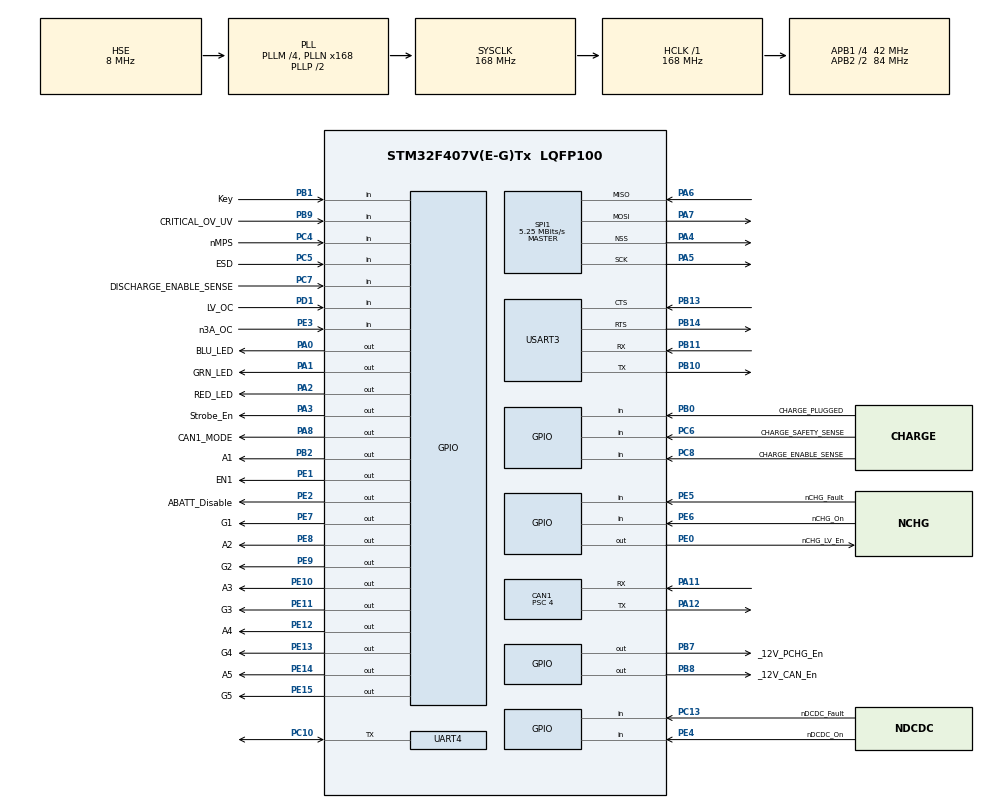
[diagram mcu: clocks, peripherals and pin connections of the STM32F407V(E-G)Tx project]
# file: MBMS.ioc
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CAN1.BS1=CAN_BS1_15TQ
CAN1.BS2=CAN_BS2_5TQ
CAN1.CalculateBaudRate=500000
CAN1.CalculateTimeBit=2000
CAN1.CalculateTimeQuantum=95.23809523809524
CAN1.Prescaler=4
CAN1.SJW=CAN_SJW_1TQ
FREERTOS.Tasks01=defaultTask,24,128,StartDefaultTask,Default,NULL,Dynamic,NULL,NULL
FREERTOS.configUSE_NEWLIB_REENTRANT=1
Mcu.Family=STM32F4
Mcu.Name=STM32F407V(E-G)Tx
Mcu.Package=LQFP100
NVIC.CAN1_RX0_IRQn=true\:5\:0\:false\:false\:true\:true\:true\:true\:true
NVIC.PriorityGroup=NVIC_PRIORITYGROUP_4
NVIC.TIM2_IRQn=true\:15\:0\:false\:false\:true\:false\:false\:true\:true
NVIC.TimeBase=TIM2_IRQn
NVIC.TimeBaseIP=TIM2
PA0-WKUP.GPIO_Label=BLU_LED
PA0-WKUP.PinState=GPIO_PIN_SET
PA0-WKUP.Signal=GPIO_Output
PA1.GPIO_Label=GRN_LED
PA1.PinState=GPIO_PIN_SET
PA1.Signal=GPIO_Output
PA11.Mode=CAN_Activate
PA11.Signal=CAN1_RX
PA12.Mode=CAN_Activate
PA12.Signal=CAN1_TX
PA13.Mode=JTAG_4_pins
PA13.Signal=SYS_JTMS-SWDIO
PA14.Mode=JTAG_4_pins
PA14.Signal=SYS_JTCK-SWCLK
PA15.Mode=JTAG_4_pins
PA15.Signal=SYS_JTDI
PA2.GPIO_Label=RED_LED
PA2.PinState=GPIO_PIN_SET
PA2.Signal=GPIO_Output
PA3.GPIO_Label=Strobe_En
PA3.GPIO_PuPd=GPIO_PULLDOWN
PA3.Signal=GPIO_Output
PA4.Mode=NSS_Signal_Hard_Output
PA4.Signal=SPI1_NSS
PA5.Mode=Full_Duplex_Master
PA5.Signal=SPI1_SCK
PA6.Mode=Full_Duplex_Master
PA6.Signal=SPI1_MISO
PA7.Mode=Full_Duplex_Master
PA7.Signal=SPI1_MOSI
PA8.GPIO_Label=CAN1_MODE
PA8.PinState=GPIO_PIN_RESET
PA8.Signal=GPIO_Output
PB0.GPIO_Label=CHARGE_PLUGGED
PB0.Signal=GPIO_Input
PB1.GPIO_Label=Key
PB1.Signal=GPIO_Input
PB10.Mode=Asynchronous
PB10.Signal=USART3_TX
PB11.Mode=Asynchronous
PB11.Signal=USART3_RX
PB13.Mode=CTS_RTS
PB13.Signal=USART3_CTS
PB14.Mode=CTS_RTS
PB14.Signal=USART3_RTS
PB2.GPIO_Label=A1
PB2.Signal=GPIO_Output
PB3.Mode=JTAG_4_pins
PB3.Signal=SYS_JTDO-SWO
PB7.GPIO_Label=_12V_PCHG_En
PB7.PinState=GPIO_PIN_RESET
PB7.Signal=GPIO_Output
PB8.GPIO_Label=_12V_CAN_En
PB8.PinState=GPIO_PIN_RESET
PB8.Signal=GPIO_Output
PB9.GPIO_Label=CRITICAL_OV_UV
PB9.GPIO_PuPd=GPIO_PULLUP
PB9.Signal=GPIO_Input
PC10.Mode=Half_duplex(single_wire_mode)
PC10.Signal=UART4_TX
PC11.Signal=UART4_RX
PC13-ANTI_TAMP.GPIO_Label=nDCDC_Fault
PC13-ANTI_TAMP.GPIO_PuPd=GPIO_PULLUP
PC13-ANTI_TAMP.Signal=GPIO_Input
PC4.GPIO_Label=nMPS
PC4.GPIO_PuPd=GPIO_PULLUP
PC4.Signal=GPIO_Input
PC5.GPIO_Label=ESD
PC5.GPIO_PuPd=GPIO_PULLUP
PC5.Signal=GPIO_Input
PC6.GPIO_Label=CHARGE_SAFETY_SENSE
PC6.Signal=GPIO_Input
PC7.GPIO_Label=DISCHARGE_ENABLE_SENSE
PC7.Signal=GPIO_Input
PC8.GPIO_Label=CHARGE_ENABLE_SENSE
PC8.Signal=GPIO_Input
PD1.GPIO_Label=LV_OC
PD1.GPIO_PuPd=GPIO_PULLUP
PD1.Signal=GPIO_Input
PE0.GPIO_Label=nCHG_LV_En
PE0.GPIO_PuPd=GPIO_PULLUP
PE0.Signal=GPIO_Output
PE1.GPIO_Label=EN1
PE1.Signal=GPIO_Output
PE10.GPIO_Label=A3
PE10.Signal=GPIO_Output
PE11.GPIO_Label=G3
PE11.Signal=GPIO_Output
PE12.GPIO_Label=A4
PE12.Signal=GPIO_Output
PE13.GPIO_Label=G4
PE13.Signal=GPIO_Output
PE14.GPIO_Label=A5
PE14.Signal=GPIO_Output
PE15.GPIO_Label=G5
PE15.Signal=GPIO_Output
PE2.GPIO_Label=ABATT_Disable
PE2.Signal=GPIO_Output
PE3.GPIO_Label=n3A_OC
PE3.GPIO_PuPd=GPIO_PULLUP
PE3.Signal=GPIO_Input
PE4.GPIO_Label=nDCDC_On
PE4.GPIO_PuPd=GPIO_PULLUP
PE4.Signal=GPIO_Input
PE5.GPIO_Label=nCHG_Fault
PE5.GPIO_PuPd=GPIO_PULLUP
PE5.Signal=GPIO_Input
PE6.GPIO_Label=nCHG_On
PE6.GPIO_PuPd=GPIO_PULLUP
PE6.Signal=GPIO_Input
PE7.GPIO_Label=G1
PE7.Signal=GPIO_Output
PE8.GPIO_Label=A2
PE8.Signal=GPIO_Output
PE9.GPIO_Label=G2
PE9.Signal=GPIO_Output
PH0-OSC_IN.Mode=HSE-External-Oscillator
PH0-OSC_IN.Signal=RCC_OSC_IN
PH1-OSC_OUT.Mode=HSE-External-Oscillator
PH1-OSC_OUT.Signal=RCC_OSC_OUT
ProjectManager.HeapSize=0x200
ProjectManager.StackSize=0x400
ProjectManager.TargetToolchain=STM32CubeIDE
RCC.48MHZClocksFreq_Value=84000000
RCC.AHBFreq_Value=168000000
RCC.APB1CLKDivider=RCC_HCLK_DIV4
RCC.APB1Freq_Value=42000000
RCC.APB1TimFreq_Value=84000000
RCC.APB2CLKDivider=RCC_HCLK_DIV2
RCC.APB2Freq_Value=84000000
RCC.APB2TimFreq_Value=168000000
RCC.CortexFreq_Value=168000000
RCC.HCLKFreq_Value=168000000
RCC.HSE_VALUE=8000000
RCC.HSI_VALUE=16000000
RCC.LSE_VALUE=32768
RCC.PLLM=4
RCC.PLLN=168
RCC.PLLSourceVirtual=RCC_PLLSOURCE_HSE
RCC.SYSCLKFreq_VALUE=168000000
RCC.SYSCLKSource=RCC_SYSCLKSOURCE_PLLCLK
RCC.VCOOutputFreq_Value=336000000
SPI1.BaudRatePrescaler=SPI_BAUDRATEPRESCALER_16
SPI1.CalculateBaudRate=5.25 MBits/s
SPI1.Direction=SPI_DIRECTION_2LINES
SPI1.Mode=SPI_MODE_MASTER
SPI1.VirtualNSS=VM_NSSHARD
SPI1.VirtualType=VM_MASTER
UART4.VirtualMode=Asynchronous
USART3.VirtualMode=VM_ASYNC
VP_FREERTOS_VS_CMSIS_V2.Mode=CMSIS_V2
VP_SYS_VS_tim2.Mode=TIM2
board=custom

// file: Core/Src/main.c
/* USER CODE BEGIN Header */
/**
  ******************************************************************************
  * @file           : main.c
  * @brief          : Main program body
  ******************************************************************************
  * @attention
  *
  * Copyright (c) 2024 STMicroelectronics.
  * All rights reserved.
  *
  * This software is licensed under terms that can be found in the LICENSE file
  * in the root directory of this software component.
  * If no LICENSE file comes with this software, it is provided AS-IS.
  *
  ******************************************************************************
  */
/* USER CODE END Header */
#include "main.h"
#include "cmsis_os.h"

/* USER CODE BEGIN Includes */
//#include "GatekeeperTask.hpp"

#include <BatteryControlTask.h>
#include <CANRxGatekeeperTask.h>
#include <CANTxGatekeeperTask.h>
#include <CANMessageSenderTask.h>
#include <DebugInterfaceTask.h>
#include <DisplayTask.h>
#include "ScreenUART_Task.h"
#include <stdint.h>

#include "StartupTask.h"
#include "ShutoffTask.h"
#include "CANdefines.h"

#include "stm32f4xx_hal.h"

/* USER CODE END Includes */

/* USER CODE BEGIN PD */
#define QUEUE_SIZE 20

/* USER CODE END PD */

CAN_HandleTypeDef hcan1;

SPI_HandleTypeDef hspi1;

UART_HandleTypeDef huart4;
UART_HandleTypeDef huart3;

/* Definitions for defaultTask */
osThreadId_t defaultTaskHandle;
const osThreadAttr_t defaultTask_attributes = {
  .name = "defaultTask",
  .stack_size = 128 * 4,
  .priority = (osPriority_t) osPriorityNormal,
};
/* USER CODE BEGIN PV */

// mutex for CAN transmit and receive CAN I DELETE THIS??????
osMutexId_t CANSPIMutexHandle;
const osMutexAttr_t CANSPIMutex_attributes = {
		.name = "CANSPIMutex",
		.attr_bits = osMutexPrioInherit,
};
// change name of this to not SPI... this is queue im currently using for sending CAN messages
osMessageQueueId_t TxCANMessageQueueHandle;
const osMessageQueueAttr_t TxCANMessageQueue_attributes = {
		.name = "TxCANMessageQueue",
		.attr_bits = 0, // idk i just set it to zero for now but idk help
};

osMessageQueueId_t RxCANMessageQueueHandle;
const osMessageQueueAttr_t RxCANMessageQueue_attributes = {
		.name = "RxCANMessageQueue",
		.attr_bits = 0, // idk i just set it to zero for now but idk help
};

osMessageQueueId_t batteryControlMessageQueueHandle;
const osMessageQueueAttr_t batteryControlMessageQueue_attributes = {
		.name = "batteryControlMessageQueue",
		.attr_bits = 0, // idk i just set it to zero for now but idk help
};

osMessageQueueId_t contactorMessageQueueHandle;
const osMessageQueueAttr_t contactorMessageQueue_attributes = {
		.name = "contactorMessageQueue",
		.attr_bits = 0, // idk i just set it to zero for now but idk help
};

osMessageQueueId_t contactorHeartbeatMessageQueueHandle;
const osMessageQueueAttr_t contactorHeartbeatMessageQueue_attributes = {
		.name = "contactorHeartbeatMessageQueue",
		.attr_bits = 0, // idk i just set it to zero for now but idk help
};

// flag that BatteryControlTask will set, ShutdownTask will wait for
osEventFlagsId_t shutoffFlagHandle;
const osEventFlagsAttr_t shutoffFlag_attributes = {
		.name = "shutoffFlag"
		// default cb_mem,
		// default cb_size ?
};

// flag that startup sets
osEventFlagsId_t contactorPermissionsFlagHandle;
const osEventFlagsAttr_t contactorPermissionsFlag_attributes = {
		.name = "contactorPermissionsFlag"
		// default cb_mem,
		// default cb_size ?
};

osThreadId_t batteryControlTaskHandle;
const osThreadAttr_t batteryControlTask_attributes = {
  .name = "batteryControlTask",
  .stack_size = 128 * 4,
  .priority = (osPriority_t) osPriorityRealtime5,
};

osThreadId_t CANRxGatekeeperTaskHandle;
const osThreadAttr_t CANRxGatekeeperTask_attributes = {
  .name = "CANRxGatekeeperTask",
  .stack_size = 128 * 4,
  .priority = (osPriority_t) osPriorityRealtime6,
};

osThreadId_t CANTxGatekeeperTaskHandle;
const osThreadAttr_t CANTxGatekeeperTask_attributes = {
  .name = "CANTxGatekeeperTask",
  .stack_size = 128 * 4,
  .priority = (osPriority_t) osPriorityRealtime4,
};

osThreadId_t debugInterfaceTaskHandle;
const osThreadAttr_t debugInterfaceTask_attributes = {
  .name = "debugInterfaceTask",
  .stack_size = 256 * 4,
  .priority = (osPriority_t) osPriorityHigh2, //Khadeeja originally put osPriorityBelowNormal
};

osThreadId_t displayTaskHandle;
const osThreadAttr_t displayTask_attributes = {
  .name = "displayTask",
  .stack_size = 128 * 4,
  .priority = (osPriority_t) osPriorityNormal,
};

osThreadId_t shutoffTaskHandle;
const osThreadAttr_t shutoffTask_attributes = {
  .name = "shutoffTask",
  .stack_size = 128 * 4,
  .priority = (osPriority_t) osPriorityRealtime7,
};

osThreadId_t startupTaskHandle;
const osThreadAttr_t startupTask_attributes = {
  .name = "startupTask",
  .stack_size = 128 * 4,
  .priority = (osPriority_t) osPriorityHigh2,
};

osThreadId_t CANMessageSenderTaskHandle;
const osThreadAttr_t CANMessageSenderTask_attributes = {
  .name = "CANMessageSenderTask",
  .stack_size = 128 * 4,
  .priority = (osPriority_t) osPriorityHigh2, // idk what priority to put ngl
};

osThreadId_t UART_ScreenTaskHandle;
const osThreadAttr_t UART_ScreenTaskHandle_attributes = {
  .name = "UART_ScreenTask",
  .stack_size = 128 * 4,
  .priority = (osPriority_t) osPriorityRealtime3,
};

osMutexId_t MBMSStatusMutexHandle;
const osMutexAttr_t MBMSStatusMutex_attributes = {
  .name = "MBMSStatusMutex",
  .attr_bits = osMutexPrioInherit,
};

osMutexId_t MBMSTripMutexHandle;
const osMutexAttr_t MBMSTripMutex_attributes = {
  .name = "MBMSTripMutex",
  .attr_bits = osMutexPrioInherit,
};

osMutexId_t MBMSSoftLimitWarningMutexHandle;
const osMutexAttr_t MBMSSoftLimitWarningMutex_attributes = {
  .name = "MBMSSoftLimitWarningMutex",
  .attr_bits = osMutexPrioInherit,
};

osMutexId_t BatteryInfoMutexHandle;
const osMutexAttr_t BatteryInfoMutex_attributes = {
  .name = "BatteryInfoMutex",
  .attr_bits = osMutexPrioInherit,
};

osMutexId_t ContactorInfoMutexHandle;
const osMutexAttr_t ContactorInfoMutex_attributes = {
  .name = "ContactorInfoMutex",
  .attr_bits = osMutexPrioInherit,
};

osMutexId_t ContactorCommandMutexHandle;
const osMutexAttr_t ContactorCommandMutex_attributes = {
  .name = "ContactorCommandMutex",
  .attr_bits = osMutexPrioInherit,
};

/* USER CODE END PV */

void SystemClock_Config(void);
static void MX_GPIO_Init(void);
static void MX_CAN1_Init(void);
static void MX_SPI1_Init(void);
static void MX_USART3_UART_Init(void);
static void MX_UART4_Init(void);
void StartDefaultTask(void *argument);

int main(void)
{

  /* MCU Configuration--------------------------------------------------------*/

  /* Reset of all peripherals, Initializes the Flash interface and the Systick. */
  HAL_Init();

  /* Configure the system clock */
  SystemClock_Config();

  /* Initialize all configured peripherals */
  MX_GPIO_Init();
  MX_CAN1_Init();
  MX_SPI1_Init();
  MX_USART3_UART_Init();
  MX_UART4_Init();

  /* Init scheduler */
  osKernelInitialize();

  /* USER CODE BEGIN RTOS_MUTEX */
#if 1
  /* add mutexes, ... */
  CANSPIMutexHandle = osMutexNew(&CANSPIMutex_attributes);

  MBMSStatusMutexHandle = osMutexNew(&MBMSStatusMutex_attributes);
  MBMSTripMutexHandle = osMutexNew(&MBMSTripMutex_attributes);
  MBMSSoftLimitWarningMutexHandle = osMutexNew(&MBMSSoftLimitWarningMutex_attributes);
  BatteryInfoMutexHandle = osMutexNew(&BatteryInfoMutex_attributes);
  ContactorInfoMutexHandle = osMutexNew(&ContactorInfoMutex_attributes);
  ContactorCommandMutexHandle = osMutexNew(&ContactorCommandMutex_attributes);

  /* USER CODE END RTOS_MUTEX */

  /* USER CODE BEGIN RTOS_QUEUES */
  /* add queues, ... */

  batteryControlMessageQueueHandle = osMessageQueueNew(QUEUE_SIZE, sizeof(CANMsg), &batteryControlMessageQueue_attributes);
  TxCANMessageQueueHandle = osMessageQueueNew(QUEUE_SIZE, sizeof(CANMsg), &TxCANMessageQueue_attributes);

  RxCANMessageQueueHandle = osMessageQueueNew(QUEUE_SIZE, sizeof(CANMsg), &RxCANMessageQueue_attributes);

  contactorMessageQueueHandle = osMessageQueueNew(QUEUE_SIZE, sizeof(CANMsg), &contactorMessageQueue_attributes);
  contactorHeartbeatMessageQueueHandle = osMessageQueueNew(QUEUE_SIZE, sizeof(CANMsg), &contactorHeartbeatMessageQueue_attributes);
  // IS THIS CORRECT??? THE NUMBER IN QUEUE AND SIZE

  /* USER CODE END RTOS_QUEUES */

  /* Create the thread(s) */
  /* creation of defaultTask */
  defaultTaskHandle = osThreadNew(StartDefaultTask, NULL, &defaultTask_attributes);

  /* USER CODE BEGIN RTOS_THREADS */
  /* add threads, ... */

  CANTxGatekeeperTaskHandle = osThreadNew(CANTxGatekeeperTask, NULL, &CANTxGatekeeperTask_attributes);
  CANRxGatekeeperTaskHandle = osThreadNew(CANRxGatekeeperTask, NULL, &CANRxGatekeeperTask_attributes);

  batteryControlTaskHandle = osThreadNew(BatteryControlTask, NULL, &batteryControlTask_attributes);

  shutoffTaskHandle = osThreadNew(ShutoffTask, NULL, &shutoffTask_attributes);
  startupTaskHandle = osThreadNew(StartupTask, NULL, &startupTask_attributes);

  debugInterfaceTaskHandle = osThreadNew(DebugInterfaceTask, NULL, &debugInterfaceTask_attributes);

  CANMessageSenderTaskHandle = osThreadNew(CANMessageSenderTask, NULL, &CANMessageSenderTask_attributes);

  UART_ScreenTaskHandle = osThreadNew(UART_ScreenTask, NULL, &UART_ScreenTaskHandle_attributes);

  /* USER CODE END RTOS_THREADS */

  /* USER CODE BEGIN RTOS_EVENTS */
  // IS THIS WHERE I SHOULD CREATE AN EVENT FLAG ????
  shutoffFlagHandle = osEventFlagsNew(&shutoffFlag_attributes);

  contactorPermissionsFlagHandle = osEventFlagsNew(&contactorPermissionsFlag_attributes);

#endif
  /* USER CODE END RTOS_EVENTS */

  /* Start scheduler */
  osKernelStart();
  /* We should never get here as control is now taken by the scheduler */
  /* Infinite loop */
  while (1)
  {

    /* USER CODE BEGIN 3 */

	  HAL_GPIO_TogglePin(G1_GPIO_Port, G1_Pin); // pin PE7
	  HAL_GPIO_TogglePin(A3_GPIO_Port, A3_Pin); // pin PE7
	  // Delay in milliseconds
	  HAL_Delay(500);

  }
  /* USER CODE END 3 */
}

void SystemClock_Config(void)
{
  RCC_OscInitTypeDef RCC_OscInitStruct = {0};
  RCC_ClkInitTypeDef RCC_ClkInitStruct = {0};

  /** Configure the main internal regulator output voltage
  */
  __HAL_RCC_PWR_CLK_ENABLE();
  __HAL_PWR_VOLTAGESCALING_CONFIG(PWR_REGULATOR_VOLTAGE_SCALE1);

  /** Initializes the RCC Oscillators according to the specified parameters
  * in the RCC_OscInitTypeDef structure.
  */
  RCC_OscInitStruct.OscillatorType = RCC_OSCILLATORTYPE_HSE;
  RCC_OscInitStruct.HSEState = RCC_HSE_ON;
  RCC_OscInitStruct.PLL.PLLState = RCC_PLL_ON;
  RCC_OscInitStruct.PLL.PLLSource = RCC_PLLSOURCE_HSE;
  RCC_OscInitStruct.PLL.PLLM = 4;
  RCC_OscInitStruct.PLL.PLLN = 168;
  RCC_OscInitStruct.PLL.PLLP = RCC_PLLP_DIV2;
  RCC_OscInitStruct.PLL.PLLQ = 4;
  if (HAL_RCC_OscConfig(&RCC_OscInitStruct) != HAL_OK)
  {
    Error_Handler();
  }

  /** Initializes the CPU, AHB and APB buses clocks
  */
  RCC_ClkInitStruct.ClockType = RCC_CLOCKTYPE_HCLK|RCC_CLOCKTYPE_SYSCLK
                              |RCC_CLOCKTYPE_PCLK1|RCC_CLOCKTYPE_PCLK2;
  RCC_ClkInitStruct.SYSCLKSource = RCC_SYSCLKSOURCE_PLLCLK;
  RCC_ClkInitStruct.AHBCLKDivider = RCC_SYSCLK_DIV1;
  RCC_ClkInitStruct.APB1CLKDivider = RCC_HCLK_DIV4;
  RCC_ClkInitStruct.APB2CLKDivider = RCC_HCLK_DIV2;

  if (HAL_RCC_ClockConfig(&RCC_ClkInitStruct, FLASH_LATENCY_5) != HAL_OK)
  {
    Error_Handler();
  }
}

static void MX_CAN1_Init(void)
{

  hcan1.Instance = CAN1;
  hcan1.Init.Prescaler = 4;
  hcan1.Init.Mode = CAN_MODE_NORMAL;
  hcan1.Init.SyncJumpWidth = CAN_SJW_1TQ;
  hcan1.Init.TimeSeg1 = CAN_BS1_15TQ;
  hcan1.Init.TimeSeg2 = CAN_BS2_5TQ;
  hcan1.Init.TimeTriggeredMode = DISABLE;
  hcan1.Init.AutoBusOff = DISABLE;
  hcan1.Init.AutoWakeUp = DISABLE;
  hcan1.Init.AutoRetransmission = DISABLE;
  hcan1.Init.ReceiveFifoLocked = DISABLE;
  hcan1.Init.TransmitFifoPriority = DISABLE;
  if (HAL_CAN_Init(&hcan1) != HAL_OK)
  {
    Error_Handler();
  }
  /* USER CODE BEGIN CAN1_Init 2 */

  //put filters here

  // filtering IDs from orion

  // u can rename this later i guess
  CAN_FilterTypeDef packInfoFilter;

  packInfoFilter.FilterBank = 0;  // filter bank 0
  packInfoFilter.FilterMode = CAN_FILTERMODE_IDMASK;  // ID list mode,,, make it match this exact ID
  packInfoFilter.FilterScale = CAN_FILTERSCALE_32BIT;
  packInfoFilter.FilterFIFOAssignment = CAN_FILTER_FIFO0;

  uint32_t filter_mask = (CONTACTORMASK << 3) | (1 << 2);
  uint32_t pack_filter_id = (PACK_INFO_ID << 3) | (1 << 2);

  packInfoFilter.FilterMaskIdHigh = (filter_mask >> 16) & 0xffff;
  packInfoFilter.FilterMaskIdLow = filter_mask & 0xffff;

  packInfoFilter.FilterIdHigh = ((pack_filter_id >> 16) & 0xffff); //
  packInfoFilter.FilterIdLow = pack_filter_id & 0xffff;  // shift left 3 bits because last 13 bits of EXID in low reg, and zero out last 3 bits of low reg (RTR, IDE, 0)

  packInfoFilter.FilterActivation = CAN_FILTER_ENABLE;

  if (HAL_CAN_ConfigFilter(&hcan1, &packInfoFilter) != HAL_OK) {
      // handle error!
  }
  packInfoFilter.SlaveStartFilterBank = 14; // maybe try commenting this out

  // filtering IDs from the individual contactor boards

  CAN_FilterTypeDef contactorFilter;
  contactorFilter.FilterBank = 3;  // filter bank 1
  contactorFilter.FilterMode = CAN_FILTERMODE_IDMASK;  // mask mode !!! can accept range of IDs
  contactorFilter.FilterScale = CAN_FILTERSCALE_32BIT;
  contactorFilter.FilterFIFOAssignment = CAN_FILTER_FIFO0;
  // 0 is dont care, 1 is compare them !!!!
  //uint32_t mask = 0x1fffffe0; // want it to let thru EXIDs 0x0000020X = 0x20X to 0x21X :)

  uint32_t contactor_filter_id = (0x200 << 3) | (1 << 2);
  uint32_t contactor_filter_mask = (CONTACTORMASK << 3) | (1 << 2);

  contactorFilter.FilterMaskIdHigh = ((contactor_filter_mask >> 16) & 0xffff);
  contactorFilter.FilterMaskIdLow = (contactor_filter_mask & 0xffff);

  contactorFilter.FilterActivation = CAN_FILTER_ENABLE;

  contactorFilter.FilterIdHigh = ((contactor_filter_id >> 16) & 0xffff); // shift right by 13 bits to get rid of
  contactorFilter.FilterIdLow = (contactor_filter_id & 0xffff); // zero out the first 16-bits, so only rightmost 13 bits left, shift left by 3 to make room for IDE, RTR, 0

  if (HAL_CAN_ConfigFilter(&hcan1, &contactorFilter) != HAL_OK) {
	  Error_Handler();
  }

  contactorFilter.SlaveStartFilterBank = 14; // maybe try commenting this out

  HAL_CAN_Start(&hcan1);

  HAL_CAN_ActivateNotification(&hcan1, CAN_IT_RX_FIFO0_MSG_PENDING | CAN_IT_RX_FIFO0_FULL | CAN_IT_RX_FIFO1_MSG_PENDING | CAN_IT_RX_FIFO1_FULL);

  /* USER CODE END CAN1_Init 2 */

}

static void MX_SPI1_Init(void)
{

  /* SPI1 parameter configuration*/
  hspi1.Instance = SPI1;
  hspi1.Init.Mode = SPI_MODE_MASTER;
  hspi1.Init.Direction = SPI_DIRECTION_2LINES;
  hspi1.Init.DataSize = SPI_DATASIZE_8BIT;
  hspi1.Init.CLKPolarity = SPI_POLARITY_LOW;
  hspi1.Init.CLKPhase = SPI_PHASE_1EDGE;
  hspi1.Init.NSS = SPI_NSS_HARD_OUTPUT;
  hspi1.Init.BaudRatePrescaler = SPI_BAUDRATEPRESCALER_16;
  hspi1.Init.FirstBit = SPI_FIRSTBIT_MSB;
  hspi1.Init.TIMode = SPI_TIMODE_DISABLE;
  hspi1.Init.CRCCalculation = SPI_CRCCALCULATION_DISABLE;
  hspi1.Init.CRCPolynomial = 10;
  if (HAL_SPI_Init(&hspi1) != HAL_OK)
  {
    Error_Handler();
  }

}

static void MX_UART4_Init(void)
{

  huart4.Instance = UART4;
  huart4.Init.BaudRate = 115200;
  huart4.Init.WordLength = UART_WORDLENGTH_8B;
  huart4.Init.StopBits = UART_STOPBITS_1;
  huart4.Init.Parity = UART_PARITY_NONE;
  huart4.Init.Mode = UART_MODE_TX_RX;
  huart4.Init.HwFlowCtl = UART_HWCONTROL_NONE;
  huart4.Init.OverSampling = UART_OVERSAMPLING_16;
  if (HAL_HalfDuplex_Init(&huart4) != HAL_OK)
  {
    Error_Handler();
  }

}

static void MX_USART3_UART_Init(void)
{

  huart3.Instance = USART3;
  huart3.Init.BaudRate = 115200;
  huart3.Init.WordLength = UART_WORDLENGTH_8B;
  huart3.Init.StopBits = UART_STOPBITS_1;
  huart3.Init.Parity = UART_PARITY_NONE;
  huart3.Init.Mode = UART_MODE_TX_RX;
  huart3.Init.HwFlowCtl = UART_HWCONTROL_RTS_CTS;
  huart3.Init.OverSampling = UART_OVERSAMPLING_16;
  if (HAL_UART_Init(&huart3) != HAL_OK)
  {
    Error_Handler();
  }

}

static void MX_GPIO_Init(void)
{
  GPIO_InitTypeDef GPIO_InitStruct = {0};

  /* GPIO Ports Clock Enable */
  __HAL_RCC_GPIOE_CLK_ENABLE();
  __HAL_RCC_GPIOC_CLK_ENABLE();
  __HAL_RCC_GPIOH_CLK_ENABLE();
  __HAL_RCC_GPIOA_CLK_ENABLE();
  __HAL_RCC_GPIOB_CLK_ENABLE();
  __HAL_RCC_GPIOD_CLK_ENABLE();

  /*Configure GPIO pin Output Level */
  HAL_GPIO_WritePin(GPIOE, ABATT_Disable_Pin|G1_Pin|A2_Pin|G2_Pin
                          |A3_Pin|G3_Pin|A4_Pin|G4_Pin
                          |A5_Pin|G5_Pin|nCHG_LV_En_Pin|EN1_Pin, GPIO_PIN_RESET);

  /*Configure GPIO pin Output Level */
  HAL_GPIO_WritePin(GPIOA, BLU_LED_Pin|GRN_LED_Pin|RED_LED_Pin, GPIO_PIN_SET);

  /*Configure GPIO pin Output Level */
  HAL_GPIO_WritePin(GPIOA, Strobe_En_Pin|CAN1_MODE_Pin, GPIO_PIN_RESET);

  /*Configure GPIO pin Output Level */
  HAL_GPIO_WritePin(GPIOB, A1_Pin|_12V_PCHG_En_Pin|_12V_CAN_En_Pin, GPIO_PIN_RESET);

  /*Configure GPIO pins : ABATT_Disable_Pin G1_Pin A2_Pin G2_Pin
                           A3_Pin G3_Pin A4_Pin G4_Pin
                           A5_Pin G5_Pin EN1_Pin */
  GPIO_InitStruct.Pin = ABATT_Disable_Pin|G1_Pin|A2_Pin|G2_Pin
                          |A3_Pin|G3_Pin|A4_Pin|G4_Pin
                          |A5_Pin|G5_Pin|EN1_Pin;
  GPIO_InitStruct.Mode = GPIO_MODE_OUTPUT_PP;
  GPIO_InitStruct.Pull = GPIO_NOPULL;
  GPIO_InitStruct.Speed = GPIO_SPEED_FREQ_LOW;
  HAL_GPIO_Init(GPIOE, &GPIO_InitStruct);

  /*Configure GPIO pins : n3A_OC_Pin nDCDC_On_Pin nCHG_Fault_Pin nCHG_On_Pin */
  GPIO_InitStruct.Pin = n3A_OC_Pin|nDCDC_On_Pin|nCHG_Fault_Pin|nCHG_On_Pin;
  GPIO_InitStruct.Mode = GPIO_MODE_INPUT;
  GPIO_InitStruct.Pull = GPIO_PULLUP;
  HAL_GPIO_Init(GPIOE, &GPIO_InitStruct);

  /*Configure GPIO pins : nDCDC_Fault_Pin nMPS_Pin ESD_Pin */
  GPIO_InitStruct.Pin = nDCDC_Fault_Pin|nMPS_Pin|ESD_Pin;
  GPIO_InitStruct.Mode = GPIO_MODE_INPUT;
  GPIO_InitStruct.Pull = GPIO_PULLUP;
  HAL_GPIO_Init(GPIOC, &GPIO_InitStruct);

  /*Configure GPIO pins : BLU_LED_Pin GRN_LED_Pin RED_LED_Pin CAN1_MODE_Pin */
  GPIO_InitStruct.Pin = BLU_LED_Pin|GRN_LED_Pin|RED_LED_Pin|CAN1_MODE_Pin;
  GPIO_InitStruct.Mode = GPIO_MODE_OUTPUT_PP;
  GPIO_InitStruct.Pull = GPIO_NOPULL;
  GPIO_InitStruct.Speed = GPIO_SPEED_FREQ_LOW;
  HAL_GPIO_Init(GPIOA, &GPIO_InitStruct);

  /*Configure GPIO pin : Strobe_En_Pin */
  GPIO_InitStruct.Pin = Strobe_En_Pin;
  GPIO_InitStruct.Mode = GPIO_MODE_OUTPUT_PP;
  GPIO_InitStruct.Pull = GPIO_PULLDOWN;
  GPIO_InitStruct.Speed = GPIO_SPEED_FREQ_LOW;
  HAL_GPIO_Init(Strobe_En_GPIO_Port, &GPIO_InitStruct);

  /*Configure GPIO pins : CHARGE_PLUGGED_Pin Key_Pin */
  GPIO_InitStruct.Pin = CHARGE_PLUGGED_Pin|Key_Pin;
  GPIO_InitStruct.Mode = GPIO_MODE_INPUT;
  GPIO_InitStruct.Pull = GPIO_NOPULL;
  HAL_GPIO_Init(GPIOB, &GPIO_InitStruct);

  /*Configure GPIO pins : A1_Pin _12V_PCHG_En_Pin _12V_CAN_En_Pin */
  GPIO_InitStruct.Pin = A1_Pin|_12V_PCHG_En_Pin|_12V_CAN_En_Pin;
  GPIO_InitStruct.Mode = GPIO_MODE_OUTPUT_PP;
  GPIO_InitStruct.Pull = GPIO_NOPULL;
  GPIO_InitStruct.Speed = GPIO_SPEED_FREQ_LOW;
  HAL_GPIO_Init(GPIOB, &GPIO_InitStruct);

  /*Configure GPIO pins : CHARGE_SAFETY_SENSE_Pin DISCHARGE_ENABLE_SENSE_Pin CHARGE_ENABLE_SENSE_Pin */
  GPIO_InitStruct.Pin = CHARGE_SAFETY_SENSE_Pin|DISCHARGE_ENABLE_SENSE_Pin|CHARGE_ENABLE_SENSE_Pin;
  GPIO_InitStruct.Mode = GPIO_MODE_INPUT;
  GPIO_InitStruct.Pull = GPIO_NOPULL;
  HAL_GPIO_Init(GPIOC, &GPIO_InitStruct);

  /*Configure GPIO pin : LV_OC_Pin */
  GPIO_InitStruct.Pin = LV_OC_Pin;
  GPIO_InitStruct.Mode = GPIO_MODE_INPUT;
  GPIO_InitStruct.Pull = GPIO_PULLUP;
  HAL_GPIO_Init(LV_OC_GPIO_Port, &GPIO_InitStruct);

  /*Configure GPIO pin : CRITICAL_OV_UV_Pin */
  GPIO_InitStruct.Pin = CRITICAL_OV_UV_Pin;
  GPIO_InitStruct.Mode = GPIO_MODE_INPUT;
  GPIO_InitStruct.Pull = GPIO_PULLUP;
  HAL_GPIO_Init(CRITICAL_OV_UV_GPIO_Port, &GPIO_InitStruct);

  /*Configure GPIO pin : nCHG_LV_En_Pin */
  GPIO_InitStruct.Pin = nCHG_LV_En_Pin;
  GPIO_InitStruct.Mode = GPIO_MODE_OUTPUT_PP;
  GPIO_InitStruct.Pull = GPIO_PULLUP;
  GPIO_InitStruct.Speed = GPIO_SPEED_FREQ_LOW;
  HAL_GPIO_Init(nCHG_LV_En_GPIO_Port, &GPIO_InitStruct);

}

void StartDefaultTask(void *argument)
{
  /* USER CODE BEGIN 5 */
  /* Infinite loop */
  for(;;)
  {
	  // Delay in milliseconds
//	  HAL_Delay(100);
	  osDelay(1000);
  }
  /* USER CODE END 5 */
}

void HAL_TIM_PeriodElapsedCallback(TIM_HandleTypeDef *htim)
{
  if (htim->Instance == TIM2) {
    HAL_IncTick();
  }
}

void Error_Handler(void)
{
  /* USER CODE BEGIN Error_Handler_Debug */
	/* turn on error LED */
  /* User can add his own implementation to report the HAL error return state */
  __disable_irq();
  while (1)
  {
  }
  /* USER CODE END Error_Handler_Debug */
}
